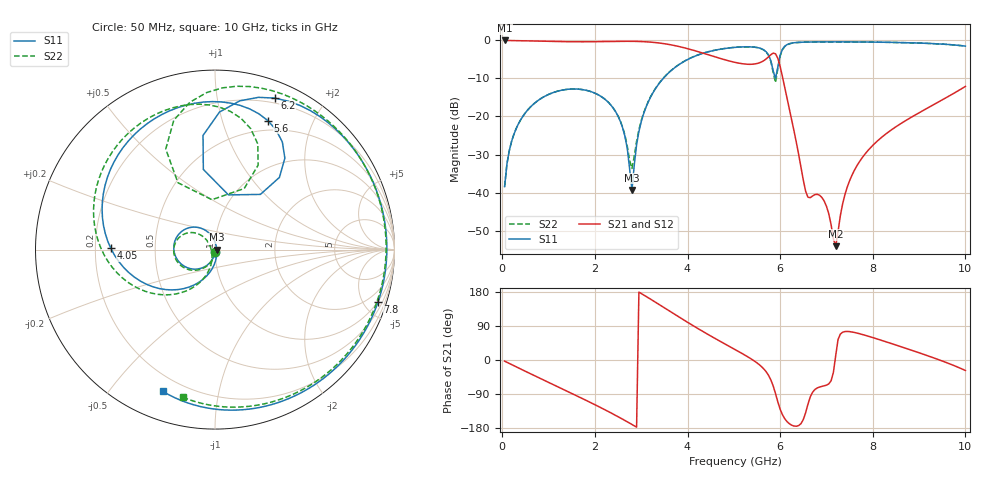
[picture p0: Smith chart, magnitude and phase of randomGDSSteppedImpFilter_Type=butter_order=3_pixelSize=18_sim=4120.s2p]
! freq	dB(S11)	phase(S11)	dB(S12)	phase(S12)
!  dB(S21)	phase(S21)	dB(S22)	phase(S22)
!S-par simulation data
#  GHz  S  DB  R 50
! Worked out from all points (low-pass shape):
!   200 points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, 50 MHz to 10 GHz, reference 50 ohm
!   highest |S21| = -0.01 dB at 50 MHz (marker M1); lowest = -54.1 dB at 7.2 GHz (marker M2)
!   |S21| within 3 dB of the highest: start of sweep to 4.244 GHz
!   lowest |S11| = -39.3 dB at 2.8 GHz (marker M3), VSWR 1.02, Z = 51.1 - j0.00281 ohm
!   |S11| at or under -10 dB: start of sweep to 3.475 GHz; 5.898404 GHz to 5.901045 GHz (2.641 MHz wide, 0.0448 % of centre)
!   |S22| runs from -38.5 to -0.4 dB; largest |S21 - S12| = 0
!   S11 on the Smith chart (normalised r, x): 50 MHz: 1.00, -0.02; 4.05 GHz: 0.27, +0.01; 5.6 GHz: 0.39, +1.42; 6.2 GHz: 0.15, +1.46; 7.8 GHz: 0.95, -6.22; 10 GHz: 0.13, -0.69
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0.05  -38.45 -92.1  -0.01 -3.0  -0.01 -3.0  -38.45 -92.1
0.2  -26.59 -102.3  -0.03 -12.0  -0.03 -12.0  -26.59 -101.5
0.5  -19.01 -121.3  -0.10 -29.9  -0.10 -29.9  -19.01 -119.2
1.75  -12.96 162.3  -0.35 -102.9  -0.35 -102.9  -12.96 171.1
2.5  -19.92 110.8  -0.24 -149.6  -0.24 -149.6  -19.87 132.9
2.8  -39.31 -0.1  -0.23 -170.1  -0.23 -170.1  -33.67 -162.2
3  -21.38 -93.3  -0.29 175.5  -0.29 175.5  -21.09 -105.0
3.4  -11.10 -128.7  -0.69 145.5  -0.69 145.5  -11.05 -124.8
4.05  -4.72 179.3  -2.32 95.8  -2.32 95.8  -4.70 -170.4
5.05  -1.79 108.2  -5.83 26.0  -5.83 26.0  -1.79 123.2
5.6  -2.20 67.7  -5.63 -17.8  -5.63 -17.8  -2.22 83.7
5.9  -10.07 76.2  -3.52 -88.8  -3.52 -88.8  -11.10 93.4
6  -3.88 96.0  -6.88 -129.9  -6.88 -129.9  -4.10 116.1
6.2  -0.85 68.5  -18.09 -168.3  -18.09 -168.3  -0.89 87.3
6.55  -0.43 42.2  -39.64 -139.1  -39.64 -139.1  -0.45 60.4
6.7  -0.40 33.6  -40.90 -85.2  -40.90 -85.2  -0.42 51.5
6.95  -0.37 20.5  -42.21 -68.3  -42.21 -68.3  -0.39 38.1
7.2  -0.37 8.5  -54.10 12.0  -54.10 12.0  -0.39 25.5
7.4  -0.38 -0.6  -40.49 75.1  -40.49 75.1  -0.39 15.9
7.8  -0.41 -17.9  -30.38 66.5  -30.38 66.5  -0.42 -2.5
8.35  -0.50 -40.2  -23.97 45.5  -23.97 45.5  -0.50 -26.7
10  -1.50 -110.1  -12.09 -27.7  -12.09 -27.7  -1.49 -102.2
